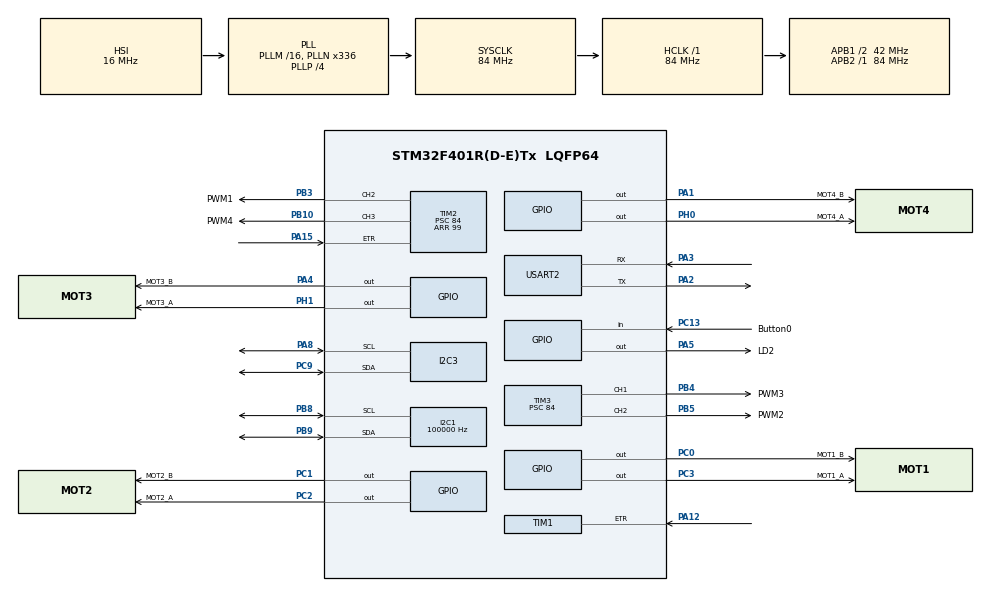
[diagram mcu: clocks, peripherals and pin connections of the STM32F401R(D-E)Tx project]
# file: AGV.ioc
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Dma.I2C3_TX.0.Direction=DMA_MEMORY_TO_PERIPH
Dma.I2C3_TX.0.FIFOMode=DMA_FIFOMODE_ENABLE
Dma.I2C3_TX.0.FIFOThreshold=DMA_FIFO_THRESHOLD_FULL
Dma.I2C3_TX.0.Instance=DMA1_Stream4
Dma.I2C3_TX.0.MemBurst=DMA_MBURST_SINGLE
Dma.I2C3_TX.0.MemDataAlignment=DMA_MDATAALIGN_BYTE
Dma.I2C3_TX.0.MemInc=DMA_MINC_ENABLE
Dma.I2C3_TX.0.Mode=DMA_NORMAL
Dma.I2C3_TX.0.PeriphBurst=DMA_PBURST_SINGLE
Dma.I2C3_TX.0.PeriphDataAlignment=DMA_PDATAALIGN_BYTE
Dma.I2C3_TX.0.PeriphInc=DMA_PINC_DISABLE
Dma.I2C3_TX.0.Priority=DMA_PRIORITY_LOW
Dma.Request0=I2C3_TX
Dma.Request1=USART2_TX
Dma.Request2=USART2_RX
Dma.USART2_RX.2.Direction=DMA_PERIPH_TO_MEMORY
Dma.USART2_RX.2.FIFOMode=DMA_FIFOMODE_ENABLE
Dma.USART2_RX.2.FIFOThreshold=DMA_FIFO_THRESHOLD_FULL
Dma.USART2_RX.2.Instance=DMA1_Stream5
Dma.USART2_RX.2.MemBurst=DMA_MBURST_SINGLE
Dma.USART2_RX.2.MemDataAlignment=DMA_MDATAALIGN_BYTE
Dma.USART2_RX.2.MemInc=DMA_MINC_ENABLE
Dma.USART2_RX.2.Mode=DMA_NORMAL
Dma.USART2_RX.2.PeriphBurst=DMA_PBURST_SINGLE
Dma.USART2_RX.2.PeriphDataAlignment=DMA_PDATAALIGN_BYTE
Dma.USART2_RX.2.PeriphInc=DMA_PINC_DISABLE
Dma.USART2_RX.2.Priority=DMA_PRIORITY_LOW
Dma.USART2_TX.1.Direction=DMA_MEMORY_TO_PERIPH
Dma.USART2_TX.1.FIFOMode=DMA_FIFOMODE_ENABLE
Dma.USART2_TX.1.FIFOThreshold=DMA_FIFO_THRESHOLD_FULL
Dma.USART2_TX.1.Instance=DMA1_Stream6
Dma.USART2_TX.1.MemBurst=DMA_MBURST_SINGLE
Dma.USART2_TX.1.MemDataAlignment=DMA_MDATAALIGN_BYTE
Dma.USART2_TX.1.MemInc=DMA_MINC_ENABLE
Dma.USART2_TX.1.Mode=DMA_NORMAL
Dma.USART2_TX.1.PeriphBurst=DMA_PBURST_SINGLE
Dma.USART2_TX.1.PeriphDataAlignment=DMA_PDATAALIGN_BYTE
Dma.USART2_TX.1.PeriphInc=DMA_PINC_DISABLE
Dma.USART2_TX.1.Priority=DMA_PRIORITY_LOW
I2C1.ClockSpeed=100000
Mcu.Family=STM32F4
Mcu.Name=STM32F401R(D-E)Tx
Mcu.Package=LQFP64
NVIC.DMA1_Stream4_IRQn=true\:0\:0\:false\:false\:true
NVIC.DMA1_Stream5_IRQn=true\:0\:0\:false\:false\:true
NVIC.DMA1_Stream6_IRQn=true\:0\:1\:false\:false\:true
NVIC.I2C1_ER_IRQn=true\:0\:2\:false\:false\:true
NVIC.I2C1_EV_IRQn=true\:0\:3\:false\:false\:true
NVIC.I2C3_ER_IRQn=true\:0\:0\:false\:false\:true
NVIC.I2C3_EV_IRQn=true\:0\:0\:false\:false\:true
NVIC.PriorityGroup=NVIC_PRIORITYGROUP_0
NVIC.TIM1_TRG_COM_TIM11_IRQn=true\:0\:6\:false\:false\:true
NVIC.TIM2_IRQn=true\:0\:5\:false\:false\:true
NVIC.TIM3_IRQn=true\:0\:4\:false\:false\:true
NVIC.USART2_IRQn=true\:0\:0\:false\:false\:true
PA1.GPIO_Label=MOT4_B
PA1.Signal=GPIO_Output
PA12.Signal=S_TIM1_ETR
PA13.Signal=SYS_JTMS-SWDIO
PA14.Signal=SYS_JTCK-SWCLK
PA15.Signal=S_TIM2_CH1_ETR
PA2.GPIO_Mode=GPIO_MODE_AF_PP
PA2.GPIO_PuPd=GPIO_PULLUP
PA2.GPIO_Speed=GPIO_SPEED_FREQ_VERY_HIGH
PA2.Mode=Asynchronous
PA2.Signal=USART2_TX
PA3.Mode=Asynchronous
PA3.Signal=USART2_RX
PA4.GPIO_Label=MOT3_B
PA4.Signal=GPIO_Output
PA5.GPIO_Label=LD2
PA5.GPIO_Mode=GPIO_MODE_OUTPUT_PP
PA5.GPIO_ModeDefaultOutputPP=GPIO_MODE_OUTPUT_PP
PA5.GPIO_PuPd=GPIO_NOPULL
PA5.GPIO_Speed=GPIO_SPEED_FREQ_LOW
PA5.PinState=GPIO_PIN_RESET
PA5.Signal=GPIO_Output
PA8.Mode=I2C
PA8.Signal=I2C3_SCL
PB10.GPIO_Label=PWM4
PB10.GPIO_ModeDefaultPP=GPIO_MODE_AF_PP
PB10.GPIO_PuPd=GPIO_NOPULL
PB10.GPIO_Speed=GPIO_SPEED_FREQ_LOW
PB10.Signal=S_TIM2_CH3
PB3.GPIO_Label=PWM1
PB3.GPIO_ModeDefaultPP=GPIO_MODE_AF_PP
PB3.GPIO_PuPd=GPIO_NOPULL
PB3.GPIO_Speed=GPIO_SPEED_FREQ_LOW
PB3.Signal=S_TIM2_CH2
PB4.GPIO_Label=PWM3
PB4.GPIO_ModeDefaultPP=GPIO_MODE_AF_PP
PB4.GPIO_PuPd=GPIO_NOPULL
PB4.GPIO_Speed=GPIO_SPEED_FREQ_LOW
PB4.Signal=S_TIM3_CH1
PB5.GPIO_Label=PWM2
PB5.GPIO_ModeDefaultPP=GPIO_MODE_AF_PP
PB5.GPIO_PuPd=GPIO_NOPULL
PB5.GPIO_Speed=GPIO_SPEED_FREQ_LOW
PB5.Signal=S_TIM3_CH2
PB8.Mode=I2C
PB8.Signal=I2C1_SCL
PB9.Mode=I2C
PB9.Signal=I2C1_SDA
PC0.GPIO_Label=MOT1_B
PC0.Signal=GPIO_Output
PC1.GPIO_Label=MOT2_B
PC1.Signal=GPIO_Output
PC13-ANTI_TAMP.GPIO_Label=Button0
PC13-ANTI_TAMP.Signal=GPIO_Input
PC14-OSC32_IN.Signal=RCC_OSC32_IN
PC15-OSC32_OUT.Signal=RCC_OSC32_OUT
PC2.GPIO_Label=MOT2_A
PC2.Signal=GPIO_Output
PC3.GPIO_Label=MOT1_A
PC3.Signal=GPIO_Output
PC9.Mode=I2C
PC9.Signal=I2C3_SDA
PH0\ -\ OSC_IN.GPIO_Label=MOT4_A
PH0\ -\ OSC_IN.Signal=GPIO_Output
PH1\ -\ OSC_OUT.GPIO_Label=MOT3_A
PH1\ -\ OSC_OUT.Signal=GPIO_Output
ProjectManager.HeapSize=0x200
ProjectManager.StackSize=0x400
ProjectManager.TargetToolchain=MDK-ARM V5
RCC.AHBFreq_Value=84000000
RCC.APB1CLKDivider=RCC_HCLK_DIV2
RCC.APB1Freq_Value=42000000
RCC.APB1TimFreq_Value=84000000
RCC.APB2Freq_Value=84000000
RCC.APB2TimFreq_Value=84000000
RCC.CortexFreq_Value=84000000
RCC.HCLKFreq_Value=84000000
RCC.HSE_VALUE=8000000
RCC.HSI_VALUE=16000000
RCC.LSE_VALUE=32768
RCC.PLLN=336
RCC.PLLP=RCC_PLLP_DIV4
RCC.PLLQ=7
RCC.SYSCLKFreq_VALUE=84000000
RCC.SYSCLKSource=RCC_SYSCLKSOURCE_PLLCLK
RCC.VCOOutputFreq_Value=336000000
SH.S_TIM1_ETR.0=TIM1_ETR,ClockSourceETR_Mode2
SH.S_TIM2_CH1_ETR.0=TIM2_ETR,ETR-as-clearing-source
SH.S_TIM2_CH2.0=TIM2_CH2,PWM Generation2 CH2
SH.S_TIM2_CH3.0=TIM2_CH3,PWM Generation3 CH3
SH.S_TIM3_CH1.0=TIM3_CH1,PWM Generation1 CH1
SH.S_TIM3_CH2.0=TIM3_CH2,PWM Generation2 CH2
TIM11.Period=9999
TIM11.Prescaler=83
TIM2.Channel-PWM\ Generation2\ CH2=TIM_CHANNEL_2
TIM2.Channel-PWM\ Generation3\ CH3=TIM_CHANNEL_3
TIM2.Period=99
TIM2.Prescaler=84
TIM2.Pulse-PWM\ Generation2\ CH2=50
TIM2.Pulse-PWM\ Generation3\ CH3=50
TIM3.Channel-PWM\ Generation2\ CH2=TIM_CHANNEL_2
TIM3.Period=99
TIM3.Prescaler=84
TIM3.Pulse-PWM\ Generation1\ CH1=50
TIM3.Pulse-PWM\ Generation2\ CH2=50
VP_TIM11_VS_ClockSourceINT.Mode=Enable_Timer
board=NUCLEO-F401RE

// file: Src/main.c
/**
  ******************************************************************************
  * File Name          : main.c
  * Description        : Main program body
  ******************************************************************************
  *
  * COPYRIGHT(c) 2018 STMicroelectronics
  *
  * Redistribution and use in source and binary forms, with or without modification,
  * are permitted provided that the following conditions are met:
  *   1. Redistributions of source code must retain the above copyright notice,
  *      this list of conditions and the following disclaimer.
  *   2. Redistributions in binary form must reproduce the above copyright notice,
  *      this list of conditions and the following disclaimer in the documentation
  *      and/or other materials provided with the distribution.
  *   3. Neither the name of STMicroelectronics nor the names of its contributors
  *      may be used to endorse or promote products derived from this software
  *      without specific prior written permission.
  *
  * THIS SOFTWARE IS PROVIDED BY THE COPYRIGHT HOLDERS AND CONTRIBUTORS "AS IS"
  * AND ANY EXPRESS OR IMPLIED WARRANTIES, INCLUDING, BUT NOT LIMITED TO, THE
  * IMPLIED WARRANTIES OF MERCHANTABILITY AND FITNESS FOR A PARTICULAR PURPOSE ARE
  * DISCLAIMED. IN NO EVENT SHALL THE COPYRIGHT HOLDER OR CONTRIBUTORS BE LIABLE
  * FOR ANY DIRECT, INDIRECT, INCIDENTAL, SPECIAL, EXEMPLARY, OR CONSEQUENTIAL
  * DAMAGES (INCLUDING, BUT NOT LIMITED TO, PROCUREMENT OF SUBSTITUTE GOODS OR
  * SERVICES; LOSS OF USE, DATA, OR PROFITS; OR BUSINESS INTERRUPTION) HOWEVER
  * CAUSED AND ON ANY THEORY OF LIABILITY, WHETHER IN CONTRACT, STRICT LIABILITY,
  * OR TORT (INCLUDING NEGLIGENCE OR OTHERWISE) ARISING IN ANY WAY OUT OF THE USE
  * OF THIS SOFTWARE, EVEN IF ADVISED OF THE POSSIBILITY OF SUCH DAMAGE.
  *
  ******************************************************************************
  */
#include "main.h"
#include "stm32f4xx_hal.h"
#include "dma.h"
#include "i2c.h"
#include "tim.h"
#include "usart.h"
#include "gpio.h"

/* USER CODE BEGIN Includes */
#include "control.h"
#include "MPU6050.h"
#include "MPU6050_6Axis_MotionApps20.h"
#include "string.h"
#include "fonts.h"
#include "ssd1306.h"

/* USER CODE END Includes */

/* USER CODE BEGIN PV */
/* Private variables ---------------------------------------------------------*/
uint8_t mpuIntStatus;   // holds actual interrupt status byte from MPU
uint8_t devStatus;      // return status after each device operation (0 = success, !0 = error)
uint16_t packetSize;    // expected DMP packet size (default is 42 bytes)
uint16_t fifoCount;     // count of all bytes currently in FIFO
uint8_t fifoBuffer[64]; // FIFO storage buffer

Quaternion q;           // [w, x, y, z]         quaternion container
float euler[3];         // [psi, theta, phi]    Euler angle container
float M_PI=3.14f;
float angle[3], angle_offset[3];			//Yaw,Pitch,Roll

uint8_t tick_tock = 0;
uint8_t run=0,run10=0;
uint8_t rxBuffer[256]="";
uint8_t positionData[256]="";

float pos_x,pos_y,tar_x,tar_y=0;
float direction = 0;
float target_direction = 0;
uint8_t turn_direction = 0; //1-left 2-right
uint8_t go_forward = 0; //1-foreward 2-backward
float distance = 0;

/* USER CODE END PV */

void SystemClock_Config(void);
void Error_Handler(void);

/* USER CODE BEGIN PFP */
/* Private function prototypes -----------------------------------------------*/

/* USER CODE END PFP */

/* USER CODE BEGIN 0 */

void printf_IT(char* str)
{
	char tmpstr[256] = "";
	strcpy(tmpstr, str);
	HAL_UART_Transmit_IT(&huart2, tmpstr, strlen(tmpstr));
}

void printf_DMA(char* tmpstr)
{

	HAL_UART_Transmit_DMA(&huart2, tmpstr, strlen(tmpstr));
}

void update_DMP(void)
{
	mpuIntStatus = MPUgetIntStatus();
		if (mpuIntStatus & 0x10){
			MPUresetFIFO();
		}
		else if(mpuIntStatus & 0x02){
			MPUgetFIFOBytes(fifoBuffer, packetSize);
			MPUdmpGetQuaternion(&q, fifoBuffer);
			MPUdmpGetEuler(euler, &q);
			angle[0] = euler[0]* 180/M_PI;
			angle[1] = euler[2]* 180/M_PI;
			angle[2] = euler[1]* 180/M_PI;
		}

}

int fabs_min_index(float a[],int size)
{
	int i,min=0;
	for(i=1;i<size;i++)
		if(fabs(a[i])<fabs(a[min]))
			min=i;
	return min;
}

int get_turn_direction(float target_direction,float direction)
{
	uint8_t turn_direction=0;
	target_direction += 3.1415926f*4.0f;
	float delta_direction_array[5];
	for(int index=0;index<5;index++)
	{
		delta_direction_array[index] = target_direction - direction;
		target_direction -= 3.1415926f*2.0f;
	}
	int idx=0;
	idx = fabs_min_index(delta_direction_array, 5);
	if(delta_direction_array[idx]>0.25f)
	{
		turn_direction = 2;
	}
	else if(delta_direction_array[idx] <-0.25f)
	{
		turn_direction = 1;
	}
	else
	{
		turn_direction = 0;
	}
	return turn_direction;
}

float get_direction(float pos_x,float pos_y,float tar_x,float tar_y)
{
	return atan((tar_y-pos_y)/(tar_x-pos_x));
}

void convert_position_data(uint8_t* positionData)
{
	sscanf(positionData,"A%f,%f,%f,%fF",&pos_x,&pos_y,&tar_x,&tar_y);
}
float get_target_distance(float pos_x,float pos_y,float tar_x,float tar_y)
{
	return sqrt(pow(tar_x-pos_x,2)+pow(tar_y-pos_y,2));
}

uint8_t get_go_forward_action(float distance)
{
	if(distance>10)
	{
		return 1;
	}
	else
	{
		return 0;
	}
}

void car_control(uint8_t forward, uint8_t turn)
{
	if(forward==0)
	{
		HAL_GPIO_WritePin(MOT1_A_GPIO_Port,MOT1_A_Pin,0);
		HAL_GPIO_WritePin(MOT1_B_GPIO_Port,MOT1_B_Pin,0);
		HAL_GPIO_WritePin(MOT2_A_GPIO_Port,MOT2_A_Pin,0);
		HAL_GPIO_WritePin(MOT2_B_GPIO_Port,MOT2_B_Pin,0);
		HAL_GPIO_WritePin(MOT3_A_GPIO_Port,MOT3_A_Pin,0);
		HAL_GPIO_WritePin(MOT3_B_GPIO_Port,MOT3_B_Pin,0);
		HAL_GPIO_WritePin(MOT4_A_GPIO_Port,MOT4_A_Pin,0);
		HAL_GPIO_WritePin(MOT4_B_GPIO_Port,MOT4_B_Pin,0);
		HAL_TIM_PWM_Stop(&htim2, TIM_CHANNEL_2);//PWM1
		HAL_TIM_PWM_Stop(&htim3, TIM_CHANNEL_2);//PWM2
		HAL_TIM_PWM_Stop(&htim3, TIM_CHANNEL_1);//PWM3
		HAL_TIM_PWM_Stop(&htim2, TIM_CHANNEL_3);//PWM4

	}
	else if(forward == 1)
	{
		TIM2->CCR2 = 50;//PWM1
		TIM3->CCR2 = 50;//PWM2
		TIM3->CCR1 = 50;//PWM3
		TIM2->CCR3 = 50;//PWM4
		HAL_TIM_PWM_Start(&htim2, TIM_CHANNEL_2);//PWM1
		HAL_TIM_PWM_Start(&htim3, TIM_CHANNEL_2);//PWM2
		HAL_TIM_PWM_Start(&htim3, TIM_CHANNEL_1);//PWM3
		HAL_TIM_PWM_Start(&htim2, TIM_CHANNEL_3);//PWM4

		if(turn == 0){
			HAL_GPIO_WritePin(MOT1_A_GPIO_Port,MOT1_A_Pin,1);
			HAL_GPIO_WritePin(MOT1_B_GPIO_Port,MOT1_B_Pin,0);
			HAL_GPIO_WritePin(MOT2_A_GPIO_Port,MOT2_A_Pin,1);
			HAL_GPIO_WritePin(MOT2_B_GPIO_Port,MOT2_B_Pin,0);
			HAL_GPIO_WritePin(MOT3_A_GPIO_Port,MOT3_A_Pin,1);
			HAL_GPIO_WritePin(MOT3_B_GPIO_Port,MOT3_B_Pin,0);
			HAL_GPIO_WritePin(MOT4_A_GPIO_Port,MOT4_A_Pin,1);
			HAL_GPIO_WritePin(MOT4_B_GPIO_Port,MOT4_B_Pin,0);
		}
	}
}

/* USER CODE END 0 */

int main(void)
{

  /* USER CODE BEGIN 1 */

	char str[256] = "";

  /* USER CODE END 1 */

  /* MCU Configuration----------------------------------------------------------*/

  /* Reset of all peripherals, Initializes the Flash interface and the Systick. */
  HAL_Init();

  /* Configure the system clock */
  SystemClock_Config();

  /* Initialize all configured peripherals */
  MX_GPIO_Init();
  MX_DMA_Init();
  MX_I2C1_Init();
  MX_TIM2_Init();
  MX_USART2_UART_Init();
  MX_TIM3_Init();
  MX_TIM11_Init();
  MX_TIM1_Init();
  MX_I2C3_Init();

  /* USER CODE BEGIN 2 */

	TIM2->CCR2 = 50;//PWM1
	TIM3->CCR2 = 50;//PWM2
	TIM3->CCR1 = 50;//PWM3
	TIM2->CCR3 = 50;//PWM4

	HAL_TIM_PWM_Start(&htim2, TIM_CHANNEL_2);//PWM1
	HAL_TIM_PWM_Start(&htim3, TIM_CHANNEL_2);//PWM2
	HAL_TIM_PWM_Start(&htim3, TIM_CHANNEL_1);//PWM3
	HAL_TIM_PWM_Start(&htim2, TIM_CHANNEL_3);//PWM4

	MPU6050(0xD0);
	MPUinitialize();
	if( MPUtestConnection()== SUCCESS) {
		printf("MPUConnect OK!\n");
	}
	else
	{
		printf("***********Not Success\n");
	}
	MPUdmpInitialize();
	MPUsetDMPEnabled(true);
	mpuIntStatus = MPUgetIntStatus();
	packetSize = MPUdmpGetFIFOPacketSize();
	//ssd1306_Init();
	HAL_Delay(300);
	//ssd1306_Fill(White);
	//ssd1306_UpdateScreen();

	HAL_TIM_Base_Start_IT(&htim11);
	HAL_UART_Receive_IT(&huart2, rxBuffer, 256);
	HAL_Delay(500);

  /* USER CODE END 2 */

  /* Infinite loop */
  while (1)
  {

  /* USER CODE BEGIN 3 */
		if(run){
			run=0;
			if(!HAL_GPIO_ReadPin(Button0_GPIO_Port, Button0_Pin)){
				for(int dimension = 0;dimension < 3; dimension++){
					angle_offset[dimension] = angle[dimension];
				}
			}

			convert_position_data(positionData);
			distance = get_target_distance(pos_x,pos_y,tar_x,tar_y);
			direction = (angle[0]-angle_offset[0])/180.0*3.14159;
			target_direction = get_direction(pos_x,pos_y,tar_x,tar_y);
			turn_direction = get_turn_direction(target_direction,direction);
			go_forward = get_go_forward_action(distance);
			//go_forward = 1;
			//turn_direction = 0;
			car_control(go_forward, turn_direction);

		}
		//HAL_Delay(100);
		if(run10){
			run10=0;
			//sprintf(str,"C%.4fF\n",direction);
			sprintf(str,"Direction:%.2f,TargetDirection:%.2f,TurnDirection:%d,Distance:%.2f,GoForward:%d\r\n",
						direction,target_direction,turn_direction,distance,go_forward);
			//sprintf(str,"Yaw: %.2f  Pitch: %.2f Roll: %.2f, PosX: %.2f,PosY: %.2f,TarX: %.2f,TarY: %.2f\n",angle[0]-angle_offset[0],angle[1]-angle_offset[1],angle[2]-angle_offset[2],pos_x,pos_y,tar_x,tar_y);
			HAL_GPIO_TogglePin(LD2_GPIO_Port, LD2_Pin);
			printf_DMA(str);

		}

		update_DMP();

  }
  /* USER CODE END 3 */

}

/** System Clock Configuration
*/
void SystemClock_Config(void)
{

  RCC_OscInitTypeDef RCC_OscInitStruct;
  RCC_ClkInitTypeDef RCC_ClkInitStruct;

    /**Configure the main internal regulator output voltage
    */
  __HAL_RCC_PWR_CLK_ENABLE();

  __HAL_PWR_VOLTAGESCALING_CONFIG(PWR_REGULATOR_VOLTAGE_SCALE2);

    /**Initializes the CPU, AHB and APB busses clocks
    */
  RCC_OscInitStruct.OscillatorType = RCC_OSCILLATORTYPE_HSI;
  RCC_OscInitStruct.HSIState = RCC_HSI_ON;
  RCC_OscInitStruct.HSICalibrationValue = 16;
  RCC_OscInitStruct.PLL.PLLState = RCC_PLL_ON;
  RCC_OscInitStruct.PLL.PLLSource = RCC_PLLSOURCE_HSI;
  RCC_OscInitStruct.PLL.PLLM = 16;
  RCC_OscInitStruct.PLL.PLLN = 336;
  RCC_OscInitStruct.PLL.PLLP = RCC_PLLP_DIV4;
  RCC_OscInitStruct.PLL.PLLQ = 7;
  if (HAL_RCC_OscConfig(&RCC_OscInitStruct) != HAL_OK)
  {
    Error_Handler();
  }

    /**Initializes the CPU, AHB and APB busses clocks
    */
  RCC_ClkInitStruct.ClockType = RCC_CLOCKTYPE_HCLK|RCC_CLOCKTYPE_SYSCLK
                              |RCC_CLOCKTYPE_PCLK1|RCC_CLOCKTYPE_PCLK2;
  RCC_ClkInitStruct.SYSCLKSource = RCC_SYSCLKSOURCE_PLLCLK;
  RCC_ClkInitStruct.AHBCLKDivider = RCC_SYSCLK_DIV1;
  RCC_ClkInitStruct.APB1CLKDivider = RCC_HCLK_DIV2;
  RCC_ClkInitStruct.APB2CLKDivider = RCC_HCLK_DIV1;

  if (HAL_RCC_ClockConfig(&RCC_ClkInitStruct, FLASH_LATENCY_2) != HAL_OK)
  {
    Error_Handler();
  }

    /**Configure the Systick interrupt time
    */
  HAL_SYSTICK_Config(HAL_RCC_GetHCLKFreq()/1000);

    /**Configure the Systick
    */
  HAL_SYSTICK_CLKSourceConfig(SYSTICK_CLKSOURCE_HCLK);

  /* SysTick_IRQn interrupt configuration */
  HAL_NVIC_SetPriority(SysTick_IRQn, 0, 0);
}

/* USER CODE BEGIN 4 */
void HAL_TIM_PeriodElapsedCallback(TIM_HandleTypeDef *htim)
{
	if (htim->Instance == htim11.Instance)
	{
		run=1;
		tick_tock += 1;
		if(tick_tock == 9)
		{
			tick_tock = 0;
			run10 = 1;
		}
	}

}

void USER_UART_IDLECallback(UART_HandleTypeDef *huart)
{
	if (huart->Instance == huart2.Instance)
	{
		HAL_DMA_Abort_IT(&hdma_usart2_rx);
		if(strchr(rxBuffer,'F')!=NULL && strchr(rxBuffer,'A')!=NULL)
		{
			strcpy(positionData, rxBuffer);

		}
		memset(rxBuffer, 0, 256);
		HAL_UART_Receive_DMA(&huart2,rxBuffer,256);

	}
}

/* USER CODE END 4 */

void Error_Handler(void)
{
  while(1)
  {
  }
}

/************************ (C) COPYRIGHT STMicroelectronics *****END OF FILE****/
